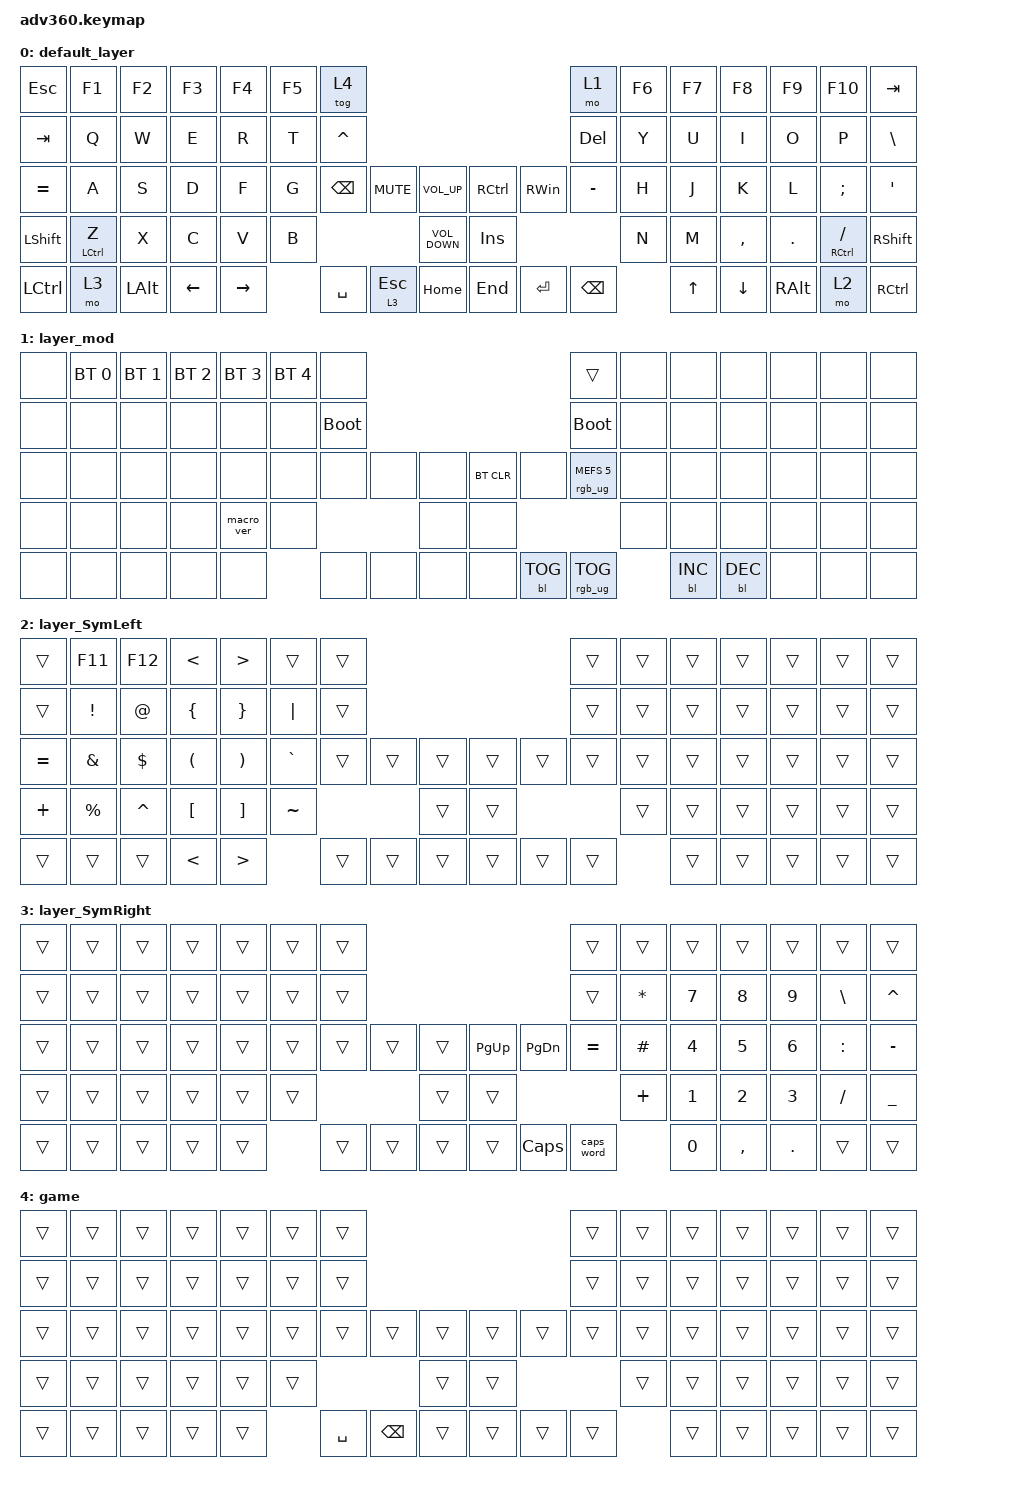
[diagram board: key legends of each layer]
/*
 * Copyright (c) 2020 The ZMK Contributors
 *
 * SPDX-License-Identifier: MIT
 */
/* THIS FILE WAS GENERATED!
 *
 * This file was generated automatically. You may or may not want to
 * edit it directly.
 */

#include <dt-bindings/zmk/stp.h>
#include <behaviors.dtsi>
#include <dt-bindings/zmk/backlight.h>
#include <dt-bindings/zmk/bt.h>
#include <dt-bindings/zmk/keys.h>
#include <dt-bindings/zmk/rgb.h>

/ {
    behaviors {
        #include "macros.dtsi"
    #include "version.dtsi"

        hm: homerow_mods {
            compatible = "zmk,behavior-hold-tap";
            label = "HOMEROW_MODS";
            #binding-cells = <2>;
            tapping-term-ms = <200>;
            quick_tap_ms = <175>;
            flavor = "tap-preferred";
            bindings = <&kp>, <&kp>;
        };
    };

    keymap {
        compatible = "zmk,keymap";

        default_layer {
            bindings = <
&kp ESCAPE  &kp F1       &kp F2        &kp F3    &kp F4     &kp F5  &tog 4                                                                      &mo 1          &kp F6  &kp F7  &kp F8     &kp F9         &kp F10          &kp TAB
&kp TAB     &kp Q        &kp W         &kp E     &kp R      &kp T   &kp CARET                                                                   &kp DELETE     &kp Y   &kp U   &kp I      &kp O          &kp P            &kp BSLH
&kp EQUAL   &kp A        &kp S         &kp D     &kp F      &kp G   &kp BACKSPACE  &kp C_MUTE  &kp C_VOLUME_UP        &kp RCTRL  &kp RIGHT_WIN  &kp MINUS      &kp H   &kp J   &kp K      &kp L          &kp SEMI         &kp SQT
&kp LSHFT   &hm LCTRL Z  &kp X         &kp C     &kp V      &kp B                              &kp C_VOLUME_DOWN      &kp INS                                  &kp N   &kp M   &kp COMMA  &kp DOT        &hm RCTRL SLASH  &kp RSHFT
&kp LCTRL   &mo 3        &kp LEFT_ALT  &kp LEFT  &kp RIGHT          &kp SPACE      &lt 3 ESC   &kp HOME               &kp END    &kp ENTER      &kp BACKSPACE          &kp UP  &kp DOWN   &kp RIGHT_ALT  &mo 2            &kp RIGHT_CONTROL
            >;
        };

        layer_mod {
            bindings = <
&none  &bt BT_SEL 0  &bt BT_SEL 1  &bt BT_SEL 2  &bt BT_SEL 3  &bt BT_SEL 4  &none                                                  &trans                  &none  &none       &none       &none  &none  &none
&none  &none         &none         &none         &none         &none         &bootloader                                            &bootloader             &none  &none       &none       &none  &none  &none
&none  &none         &none         &none         &none         &none         &none        &none  &none      &bt BT_CLR  &none       &rgb_ug RGB_MEFS_CMD 5  &none  &none       &none       &none  &none  &none
&none  &none         &none         &none         &macro_ver    &none                             &none      &none                                           &none  &none       &none       &none  &none  &none
&none  &none         &none         &none         &none                       &none        &none  &none      &none       &bl BL_TOG  &rgb_ug RGB_TOG                &bl BL_INC  &bl BL_DEC  &none  &none  &none
            >;
        };

        layer_SymLeft {
            bindings = <
&trans     &kp F11          &kp F12      &kp LESS_THAN         &kp GREATER_THAN       &trans     &trans                                      &trans  &trans  &trans  &trans  &trans  &trans  &trans
&trans     &kp EXCLAMATION  &kp AT_SIGN  &kp LEFT_BRACE        &kp RIGHT_BRACE        &kp PIPE   &trans                                      &trans  &trans  &trans  &trans  &trans  &trans  &trans
&kp EQUAL  &kp AMPERSAND    &kp DOLLAR   &kp LEFT_PARENTHESIS  &kp RIGHT_PARENTHESIS  &kp GRAVE  &trans  &trans  &trans      &trans  &trans  &trans  &trans  &trans  &trans  &trans  &trans  &trans
&kp PLUS   &kp PERCENT      &kp CARET    &kp LEFT_BRACKET      &kp RIGHT_BRACKET      &kp TILDE                  &trans      &trans                  &trans  &trans  &trans  &trans  &trans  &trans
&trans     &trans           &trans       &kp LESS_THAN         &kp GT                            &trans  &trans  &trans      &trans  &trans  &trans          &trans  &trans  &trans  &trans  &trans
            >;
        };

        layer_SymRight {
            bindings = <
&trans  &trans  &trans  &trans  &trans  &trans  &trans                                                  &trans      &trans        &trans        &trans        &trans        &trans         &trans
&trans  &trans  &trans  &trans  &trans  &trans  &trans                                                  &trans      &kp ASTERISK  &kp NUMBER_7  &kp NUMBER_8  &kp NUMBER_9  &kp BACKSLASH  &kp CARET
&trans  &trans  &trans  &trans  &trans  &trans  &trans  &trans  &trans      &kp PAGE_UP  &kp PAGE_DOWN  &kp EQUAL   &kp HASH      &kp NUMBER_4  &kp NUMBER_5  &kp NUMBER_6  &kp COLON      &kp MINUS
&trans  &trans  &trans  &trans  &trans  &trans                  &trans      &trans                                  &kp PLUS      &kp NUMBER_1  &kp NUMBER_2  &kp NUMBER_3  &kp SLASH      &kp UNDERSCORE
&trans  &trans  &trans  &trans  &trans          &trans  &trans  &trans      &trans       &kp CAPS       &caps_word                &kp NUMBER_0  &kp COMMA     &kp DOT       &trans         &trans
            >;
        };

        game {
            bindings = <
&trans  &trans  &trans  &trans  &trans  &trans  &trans                                                &trans  &trans  &trans  &trans  &trans  &trans  &trans
&trans  &trans  &trans  &trans  &trans  &trans  &trans                                                &trans  &trans  &trans  &trans  &trans  &trans  &trans
&trans  &trans  &trans  &trans  &trans  &trans  &trans     &trans         &trans      &trans  &trans  &trans  &trans  &trans  &trans  &trans  &trans  &trans
&trans  &trans  &trans  &trans  &trans  &trans                            &trans      &trans                  &trans  &trans  &trans  &trans  &trans  &trans
&trans  &trans  &trans  &trans  &trans          &kp SPACE  &kp BACKSPACE  &trans      &trans  &trans  &trans          &trans  &trans  &trans  &trans  &trans
            >;
        };
    };
};
